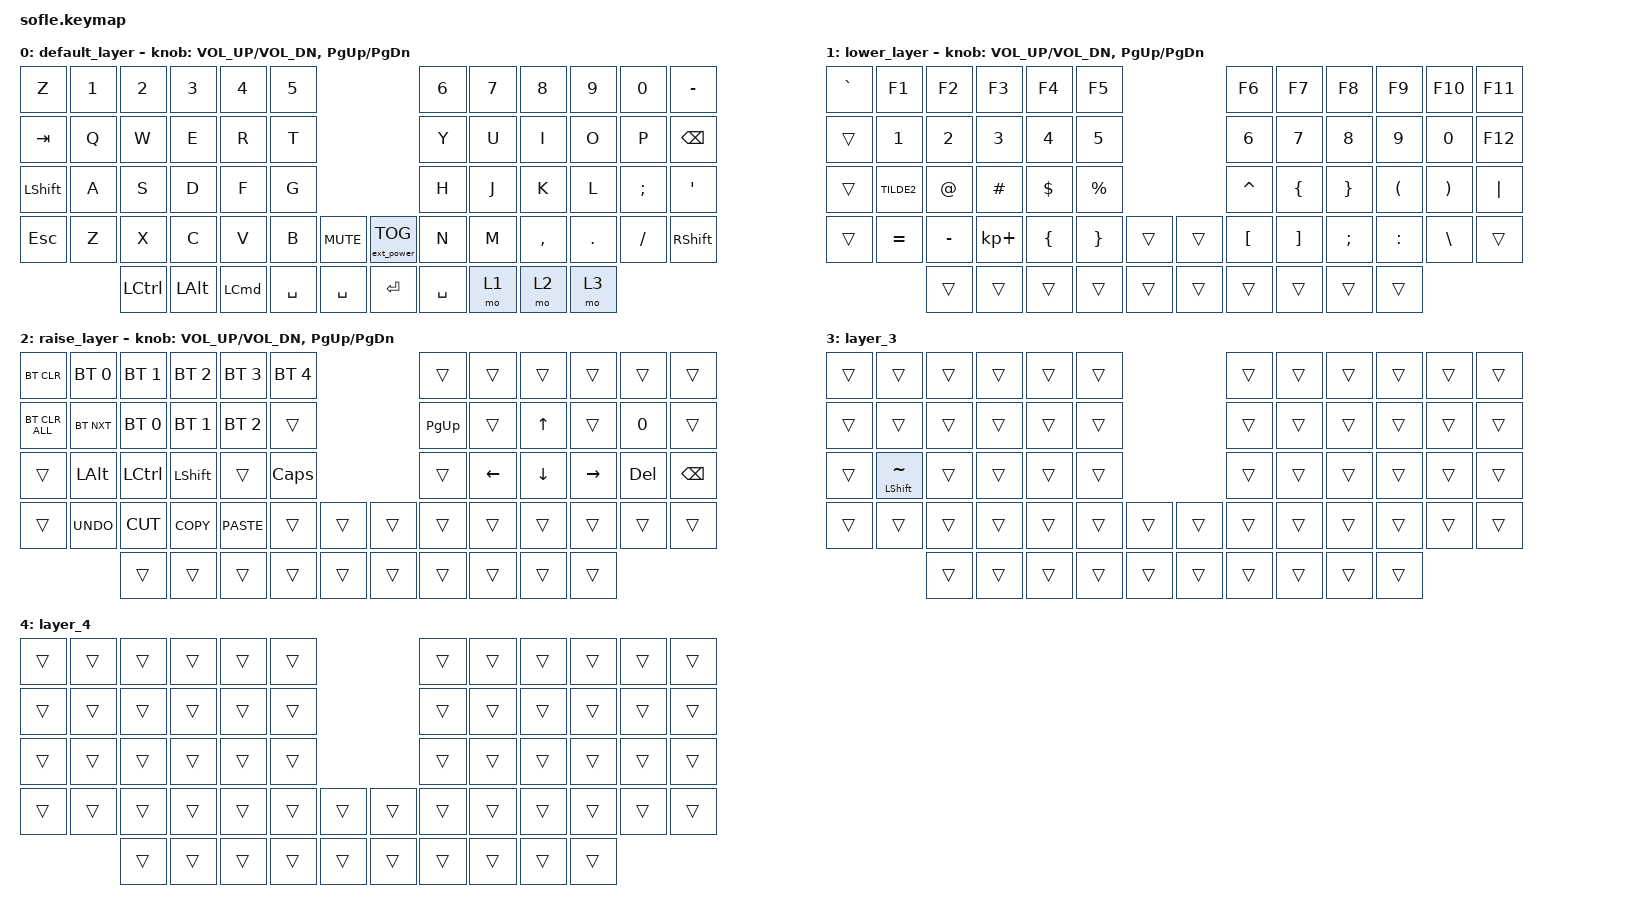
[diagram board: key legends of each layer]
/*
 * Copyright (c) 2020 The ZMK Contributors
 *
 * SPDX-License-Identifier: MIT
 */

#include <behaviors.dtsi>
#include <dt-bindings/zmk/bt.h>
#include <dt-bindings/zmk/ext_power.h>
#include <dt-bindings/zmk/keys.h>

/ {
    behaviors {
        mytilda: mytilda {
            compatible = "zmk,behavior-hold-tap";
            label = "MYTILDA";
            bindings = <&kp>, <&mt>;

            #binding-cells = <2>;
            tapping-term-ms = <2>;
            quick-tap-ms = <(-1)>;
            require-prior-idle-ms = <(-1)>;
        };
    };

    combos {
        compatible = "zmk,combos";

        space {
            bindings = <&kp SPACE>;
            key-positions = <20 21>;
        };

        backspace {
            bindings = <&kp BACKSPACE>;
            key-positions = <14 15>;
        };
    };

    keymap {
        compatible = "zmk,keymap";

        default_layer {
            // ------------------------------------------------------------------------------------------------------------
            // |  `    |  1  |  2  |  3   |  4   |  5   |                   |  6   |  7    |  8    |  9   |   0   |       |
            // |  ESC  |  Q  |  W  |  E   |  R   |  T   |                   |  Y   |  U    |  I    |  O   |   P   | BKSPC |
            // |  TAB  |  A  |  S  |  D   |  F   |  G   |                   |  H   |  J    |  K    |  L   |   ;   |   '   |
            // | SHIFT |  Z  |  X  |  C   |  V   |  B   |  MUTE  |  |       |  N   |  M    |  ,    |  .   |   /   | SHIFT |
            //               | GUI | ALT  | CTRL | LOWER|  ENTER |  | SPACE | RAISE| CTRL  | ALT   | GUI  |

            bindings = <
&kp Z           &kp N1  &kp N2     &kp N3        &kp N4            &kp N5                                      &kp N6     &kp N7  &kp N8     &kp N9   &kp N0    &kp MINUS
&kp TAB         &kp Q   &kp W      &kp E         &kp R             &kp T                                       &kp Y      &kp U   &kp I      &kp O    &kp P     &kp BSPC
&kp LEFT_SHIFT  &kp A   &kp S      &kp D         &kp F             &kp G                                       &kp H      &kp J   &kp K      &kp L    &kp SEMI  &kp SQT
&kp ESC         &kp Z   &kp X      &kp C         &kp V             &kp B      &kp C_MUTE    &ext_power EP_TOG  &kp N      &kp M   &kp COMMA  &kp DOT  &kp FSLH  &kp RSHFT
                        &kp LCTRL  &kp LEFT_ALT  &kp LEFT_COMMAND  &kp SPACE  &kp SPACE     &kp ENTER          &kp SPACE  &mo 1   &mo 2      &mo 3
            >;

            sensor-bindings = <&inc_dec_kp C_VOL_UP C_VOL_DN &inc_dec_kp PG_UP PG_DN>;
        };

        lower_layer {
            // TODO: Some binds are waiting for shifted keycode support.
            // ------------------------------------------------------------------------------------------------------------
            // | `     |  F1 |  F2 |  F3  |  F4  |  F5  |                   |  F6  |  F7   |  F8   |  F9  |  F10  |  F11  |
            // | RAISE |   1 |   2 |   3  |   4  |   5  |                   |   6  |   7   |   8   |   9  |    0  |  F12  |
            // |       |  !  |  @  |  #   |  $   |  %   |                   |  ^   |  &    |  *    |  (   |   )   |   |   |
            // |       |  =  |  -  |  +   |  {   |  }   |        |  |       |  [   |  ]    |  ;    |  :   |   \   |       |
            //               |     |      |      |      |        |  |       |      |       |       |      |

            bindings = <
&kp GRAVE  &kp F1      &kp F2     &kp F3       &kp F4    &kp F5                       &kp F6     &kp F7          &kp F8           &kp F9     &kp F10   &kp F11
&trans     &kp N1      &kp N2     &kp N3       &kp N4    &kp N5                       &kp N6     &kp N7          &kp N8           &kp N9     &kp N0    &kp F12
&trans     &kp TILDE2  &kp AT     &kp HASH     &kp DLLR  &kp PRCNT                    &kp CARET  &kp LEFT_BRACE  &kp RIGHT_BRACE  &kp LPAR   &kp RPAR  &kp PIPE
&trans     &kp EQUAL   &kp MINUS  &kp KP_PLUS  &kp LBRC  &kp RBRC   &trans    &trans  &kp LBKT   &kp RBKT        &kp SEMI         &kp COLON  &kp BSLH  &trans
                       &trans     &trans       &trans    &trans     &trans    &trans  &trans     &trans          &trans           &trans
            >;

            sensor-bindings = <&inc_dec_kp C_VOL_UP C_VOL_DN &inc_dec_kp PG_UP PG_DN>;
        };

        raise_layer {
            // ------------------------------------------------------------------------------------------------------------
            // |BTCLR| BT1  | BT2  |  BT3  |  BT4  |  BT5 |                |      |      |       |      |       |       |
            // |     | INS  | PSCR | GUI   |       |      |                | PGUP |      |       |      |       |       |
            // |     | ALT  | CTRL | SHIFT |       | CAPS |                |  <-  |   v  |   ^   |  ->  |  DEL  | BKSPC |
            // |     | UNDO | CUT  | COPY  | PASTE |      |      |  |      |      |      |       |      |       |       |
            //              |      |       |       |      |      |  |      |      |      |       |      |

            bindings = <
&bt BT_CLR      &bt BT_SEL 0  &bt BT_SEL 1  &bt BT_SEL 2  &bt BT_SEL 3  &bt BT_SEL 4                    &trans     &trans          &trans          &trans     &trans   &trans
&bt BT_CLR_ALL  &bt BT_NXT    &bt BT_SEL 0  &bt BT_SEL 1  &bt BT_SEL 2  &trans                          &kp PG_UP  &trans          &kp UP          &trans     &kp N0   &trans
&trans          &kp LALT      &kp LCTRL     &kp LSHFT     &trans        &kp CLCK                        &trans     &kp LEFT_ARROW  &kp DOWN_ARROW  &kp RIGHT  &kp DEL  &kp BSPC
&trans          &kp K_UNDO    &kp K_CUT     &kp K_COPY    &kp K_PASTE   &trans        &trans    &trans  &trans     &trans          &trans          &trans     &trans   &trans
                              &trans        &trans        &trans        &trans        &trans    &trans  &trans     &trans          &trans          &trans
            >;

            sensor-bindings = <&inc_dec_kp C_VOL_UP C_VOL_DN &inc_dec_kp PG_UP PG_DN>;
        };

        layer_3 {
            bindings = <
&trans  &trans                     &trans  &trans  &trans  &trans                    &trans  &trans  &trans  &trans  &trans  &trans
&trans  &trans                     &trans  &trans  &trans  &trans                    &trans  &trans  &trans  &trans  &trans  &trans
&trans  &mytilda LEFT_SHIFT TILDE  &trans  &trans  &trans  &trans                    &trans  &trans  &trans  &trans  &trans  &trans
&trans  &trans                     &trans  &trans  &trans  &trans  &trans    &trans  &trans  &trans  &trans  &trans  &trans  &trans
                                   &trans  &trans  &trans  &trans  &trans    &trans  &trans  &trans  &trans  &trans
            >;
        };

        layer_4 {
            bindings = <
&trans  &trans  &trans  &trans  &trans  &trans                    &trans  &trans  &trans  &trans  &trans  &trans
&trans  &trans  &trans  &trans  &trans  &trans                    &trans  &trans  &trans  &trans  &trans  &trans
&trans  &trans  &trans  &trans  &trans  &trans                    &trans  &trans  &trans  &trans  &trans  &trans
&trans  &trans  &trans  &trans  &trans  &trans  &trans    &trans  &trans  &trans  &trans  &trans  &trans  &trans
                &trans  &trans  &trans  &trans  &trans    &trans  &trans  &trans  &trans  &trans
            >;
        };
    };
};
